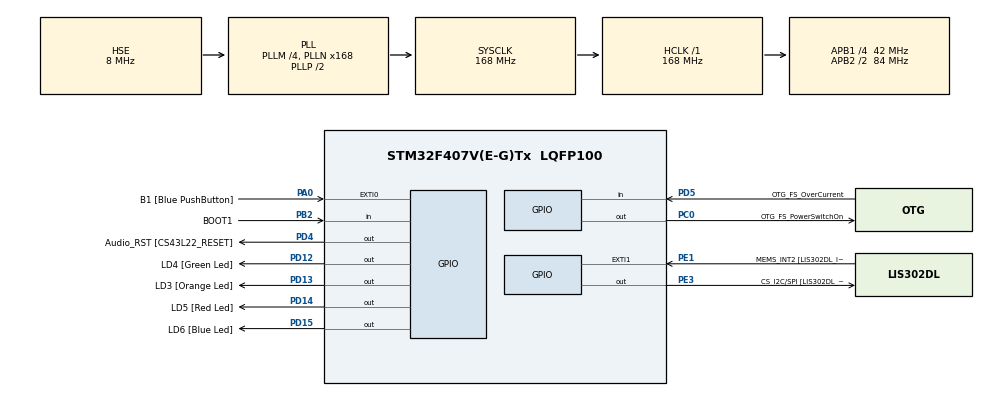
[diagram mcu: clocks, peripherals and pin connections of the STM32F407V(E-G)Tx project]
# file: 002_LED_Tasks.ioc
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Mcu.Family=STM32F4
Mcu.Name=STM32F407V(E-G)Tx
Mcu.Package=LQFP100
NVIC.PriorityGroup=NVIC_PRIORITYGROUP_4
PA0-WKUP.GPIO_Label=B1 [Blue PushButton]
PA0-WKUP.Signal=GPXTI0
PA10.GPIO_Label=OTG_FS_ID
PA10.GPIO_Mode=GPIO_MODE_AF_PP
PA10.GPIO_PuPd=GPIO_NOPULL
PA10.GPIO_Speed=GPIO_SPEED_FREQ_LOW
PA10.Signal=USB_OTG_FS_ID
PA11.GPIO_Label=OTG_FS_DM
PA11.GPIO_Mode=GPIO_MODE_AF_PP
PA11.GPIO_PuPd=GPIO_NOPULL
PA11.GPIO_Speed=GPIO_SPEED_FREQ_LOW
PA11.Signal=USB_OTG_FS_DM
PA12.GPIO_Label=OTG_FS_DP
PA12.GPIO_Mode=GPIO_MODE_AF_PP
PA12.GPIO_PuPd=GPIO_NOPULL
PA12.GPIO_Speed=GPIO_SPEED_FREQ_LOW
PA12.Signal=USB_OTG_FS_DP
PA13.GPIO_Label=SWDIO
PA13.Signal=SYS_JTMS-SWDIO
PA14.GPIO_Label=SWCLK
PA14.Signal=SYS_JTCK-SWCLK
PA4.GPIO_Label=I2S3_WS [CS43L22_LRCK]
PA4.GPIO_Mode=GPIO_MODE_AF_PP
PA4.GPIO_PuPd=GPIO_NOPULL
PA4.GPIO_Speed=GPIO_SPEED_FREQ_LOW
PA4.Signal=I2S3_WS
PA5.GPIO_Label=SPI1_SCK [LIS302DL_SCL/SPC]
PA5.GPIO_Mode=GPIO_MODE_AF_PP
PA5.GPIO_PuPd=GPIO_NOPULL
PA5.GPIO_Speed=GPIO_SPEED_FREQ_LOW
PA5.Signal=SPI1_SCK
PA6.GPIO_Label=SPI1_MISO [LIS302DL_SDO]
PA6.GPIO_Mode=GPIO_MODE_AF_PP
PA6.GPIO_PuPd=GPIO_NOPULL
PA6.GPIO_Speed=GPIO_SPEED_FREQ_LOW
PA6.Signal=SPI1_MISO
PA7.GPIO_Label=SPI1_MOSI [LIS302DL_SDA/SDI/SDO]
PA7.GPIO_Mode=GPIO_MODE_AF_PP
PA7.GPIO_PuPd=GPIO_NOPULL
PA7.GPIO_Speed=GPIO_SPEED_FREQ_LOW
PA7.Signal=SPI1_MOSI
PA9.GPIO_Label=VBUS_FS
PA9.GPIO_Mode=GPIO_MODE_INPUT
PA9.GPIO_PuPd=GPIO_NOPULL
PA9.Signal=USB_OTG_FS_VBUS
PB10.GPIO_Label=CLK_IN [MP45DT02_CLK]
PB10.GPIO_Mode=GPIO_MODE_AF_PP
PB10.GPIO_PuPd=GPIO_NOPULL
PB10.GPIO_Speed=GPIO_SPEED_FREQ_LOW
PB10.Signal=I2S2_CK
PB2.GPIO_Label=BOOT1
PB2.GPIO_Mode=GPIO_MODE_INPUT
PB2.GPIO_PuPd=GPIO_NOPULL
PB2.Signal=GPIO_Input
PB3.GPIO_Label=SWO
PB3.Signal=SYS_JTDO-SWO
PB6.GPIO_Label=Audio_SCL [CS43L22_SCL]
PB6.GPIO_Mode=GPIO_MODE_AF_OD
PB6.GPIO_PuPd=GPIO_NOPULL
PB6.GPIO_Speed=GPIO_SPEED_FREQ_LOW
PB6.Signal=I2C1_SCL
PB9.GPIO_Label=Audio_SDA [CS43L22_SDA]
PB9.GPIO_Mode=GPIO_MODE_AF_OD
PB9.GPIO_PuPd=GPIO_NOPULL
PB9.GPIO_Speed=GPIO_SPEED_FREQ_LOW
PB9.Signal=I2C1_SDA
PC0.GPIO_Label=OTG_FS_PowerSwitchOn
PC0.GPIO_PuPd=GPIO_NOPULL
PC0.GPIO_Speed=GPIO_SPEED_FREQ_LOW
PC0.PinState=GPIO_PIN_SET
PC0.Signal=GPIO_Output
PC10.GPIO_Label=I2S3_SCK [CS43L22_SCLK]
PC10.GPIO_Mode=GPIO_MODE_AF_PP
PC10.GPIO_PuPd=GPIO_NOPULL
PC10.GPIO_Speed=GPIO_SPEED_FREQ_LOW
PC10.Signal=I2S3_CK
PC12.GPIO_Label=I2S3_SD [CS43L22_SDIN]
PC12.GPIO_Mode=GPIO_MODE_AF_PP
PC12.GPIO_PuPd=GPIO_NOPULL
PC12.GPIO_Speed=GPIO_SPEED_FREQ_LOW
PC12.Signal=I2S3_SD
PC14-OSC32_IN.GPIO_Label=PC14-OSC32_IN
PC14-OSC32_IN.Signal=RCC_OSC32_IN
PC15-OSC32_OUT.GPIO_Label=PC15-OSC32_OUT
PC15-OSC32_OUT.Signal=RCC_OSC32_OUT
PC3.GPIO_Label=PDM_OUT [MP45DT02_DOUT]
PC3.GPIO_Mode=GPIO_MODE_AF_PP
PC3.GPIO_PuPd=GPIO_NOPULL
PC3.GPIO_Speed=GPIO_SPEED_FREQ_LOW
PC3.Signal=I2S2_SD
PC7.GPIO_Label=I2S3_MCK [CS43L22_MCLK]
PC7.GPIO_Mode=GPIO_MODE_AF_PP
PC7.GPIO_PuPd=GPIO_NOPULL
PC7.GPIO_Speed=GPIO_SPEED_FREQ_LOW
PC7.Signal=I2S3_MCK
PD12.GPIO_Label=LD4 [Green Led]
PD12.GPIO_PuPd=GPIO_NOPULL
PD12.GPIO_Speed=GPIO_SPEED_FREQ_LOW
PD12.Signal=GPIO_Output
PD13.GPIO_Label=LD3 [Orange Led]
PD13.GPIO_PuPd=GPIO_NOPULL
PD13.GPIO_Speed=GPIO_SPEED_FREQ_LOW
PD13.Signal=GPIO_Output
PD14.GPIO_Label=LD5 [Red Led]
PD14.GPIO_PuPd=GPIO_NOPULL
PD14.GPIO_Speed=GPIO_SPEED_FREQ_LOW
PD14.Signal=GPIO_Output
PD15.GPIO_Label=LD6 [Blue Led]
PD15.GPIO_PuPd=GPIO_NOPULL
PD15.GPIO_Speed=GPIO_SPEED_FREQ_LOW
PD15.Signal=GPIO_Output
PD4.GPIO_Label=Audio_RST [CS43L22_RESET]
PD4.GPIO_PuPd=GPIO_NOPULL
PD4.GPIO_Speed=GPIO_SPEED_FREQ_LOW
PD4.Signal=GPIO_Output
PD5.GPIO_Label=OTG_FS_OverCurrent
PD5.GPIO_Mode=GPIO_MODE_INPUT
PD5.GPIO_PuPd=GPIO_NOPULL
PD5.Signal=GPIO_Input
PE1.GPIO_Label=MEMS_INT2 [LIS302DL_INT2]
PE1.GPIO_ModeDefaultEXTI=GPIO_MODE_EVT_RISING
PE1.GPIO_PuPd=GPIO_NOPULL
PE1.Signal=GPXTI1
PE3.GPIO_Label=CS_I2C/SPI [LIS302DL_CS_I2C/SPI]
PE3.GPIO_PuPd=GPIO_NOPULL
PE3.GPIO_Speed=GPIO_SPEED_FREQ_LOW
PE3.Signal=GPIO_Output
PH0-OSC_IN.GPIO_Label=PH0-OSC_IN
PH0-OSC_IN.Mode=HSE-External-Oscillator
PH0-OSC_IN.Signal=RCC_OSC_IN
PH1-OSC_OUT.GPIO_Label=PH1-OSC_OUT
PH1-OSC_OUT.Mode=HSE-External-Oscillator
PH1-OSC_OUT.Signal=RCC_OSC_OUT
ProjectManager.HeapSize=0x200
ProjectManager.StackSize=0x400
ProjectManager.TargetToolchain=CMake
RCC.48MHZClocksFreq_Value=48000000
RCC.AHBFreq_Value=168000000
RCC.APB1CLKDivider=RCC_HCLK_DIV4
RCC.APB1Freq_Value=42000000
RCC.APB1TimFreq_Value=84000000
RCC.APB2CLKDivider=RCC_HCLK_DIV2
RCC.APB2Freq_Value=84000000
RCC.APB2TimFreq_Value=168000000
RCC.CortexFreq_Value=168000000
RCC.HCLKFreq_Value=168000000
RCC.HSE_VALUE=8000000
RCC.HSI_VALUE=16000000
RCC.LSE_VALUE=32768
RCC.PLLM=4
RCC.PLLN=168
RCC.PLLQ=7
RCC.PLLSourceVirtual=RCC_PLLSOURCE_HSE
RCC.SYSCLKFreq_VALUE=168000000
RCC.SYSCLKSource=RCC_SYSCLKSOURCE_PLLCLK
RCC.VCOOutputFreq_Value=336000000
board=STM32F407G-DISC1

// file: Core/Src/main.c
/* USER CODE BEGIN Header */
/**
  ******************************************************************************
  * @file           : main.c
  * @brief          : Main program body
  ******************************************************************************
  * @attention
  *
  * Copyright (c) 2026 STMicroelectronics.
  * All rights reserved.
  *
  * This software is licensed under terms that can be found in the LICENSE file
  * in the root directory of this software component.
  * If no LICENSE file comes with this software, it is provided AS-IS.
  *
  ******************************************************************************
  */
/* USER CODE END Header */
#include "main.h"

/* USER CODE BEGIN Includes */
#include "FreeRTOS.h"
#include "task.h"
/* USER CODE END Includes */

void SystemClock_Config(void);
static void MX_GPIO_Init(void);
/* USER CODE BEGIN PFP */
static void led_green_handler(void* params);
static void led_orange_handler(void* params);
static void led_red_handler(void* params);
extern void SEGGER_UART_init(U32 baud_rate);
/* USER CODE END PFP */

int main(void)
{

  /* USER CODE BEGIN 1 */
  TaskHandle_t task1_handle = NULL;
  TaskHandle_t task2_handle = NULL;
  TaskHandle_t task3_handle = NULL;
  BaseType_t status = pdFALSE;
  /* USER CODE END 1 */

  /* MCU Configuration--------------------------------------------------------*/

  /* Reset of all peripherals, Initializes the Flash interface and the Systick. */
  HAL_Init();

  /* Configure the system clock */
  SystemClock_Config();

  /* Initialize all configured peripherals */
  MX_GPIO_Init();
  /* USER CODE BEGIN 2 */
  SEGGER_UART_init(250000);
  DWT->CTRL |= ( 1 << 0);
  SEGGER_SYSVIEW_Conf();

  status = xTaskCreate(led_green_handler, "LED_green_task", 200, NULL, 2, &task1_handle);
  configASSERT(status == pdPASS);

  status = xTaskCreate(led_orange_handler, "LED_orange_task", 200, NULL, 2, &task2_handle);
  configASSERT(status == pdPASS);

  status = xTaskCreate(led_red_handler, "LED_red_task", 200, NULL, 2, &task3_handle);
  configASSERT(status == pdPASS);

  vTaskStartScheduler();
  /* USER CODE END 2 */

  /* Infinite loop */
  while (1)
  {

  }
}

void SystemClock_Config(void)
{
  RCC_OscInitTypeDef RCC_OscInitStruct = {0};
  RCC_ClkInitTypeDef RCC_ClkInitStruct = {0};

  /** Configure the main internal regulator output voltage
  */
  __HAL_RCC_PWR_CLK_ENABLE();
  __HAL_PWR_VOLTAGESCALING_CONFIG(PWR_REGULATOR_VOLTAGE_SCALE1);

  /** Initializes the RCC Oscillators according to the specified parameters
  * in the RCC_OscInitTypeDef structure.
  */
  RCC_OscInitStruct.OscillatorType = RCC_OSCILLATORTYPE_HSE;
  RCC_OscInitStruct.HSEState = RCC_HSE_ON;
  RCC_OscInitStruct.PLL.PLLState = RCC_PLL_ON;
  RCC_OscInitStruct.PLL.PLLSource = RCC_PLLSOURCE_HSE;
  RCC_OscInitStruct.PLL.PLLM = 4;
  RCC_OscInitStruct.PLL.PLLN = 168;
  RCC_OscInitStruct.PLL.PLLP = RCC_PLLP_DIV2;
  RCC_OscInitStruct.PLL.PLLQ = 7;
  if (HAL_RCC_OscConfig(&RCC_OscInitStruct) != HAL_OK)
  {
    Error_Handler();
  }

  /** Initializes the CPU, AHB and APB buses clocks
  */
  RCC_ClkInitStruct.ClockType = RCC_CLOCKTYPE_HCLK|RCC_CLOCKTYPE_SYSCLK
                              |RCC_CLOCKTYPE_PCLK1|RCC_CLOCKTYPE_PCLK2;
  RCC_ClkInitStruct.SYSCLKSource = RCC_SYSCLKSOURCE_PLLCLK;
  RCC_ClkInitStruct.AHBCLKDivider = RCC_SYSCLK_DIV1;
  RCC_ClkInitStruct.APB1CLKDivider = RCC_HCLK_DIV4;
  RCC_ClkInitStruct.APB2CLKDivider = RCC_HCLK_DIV2;

  if (HAL_RCC_ClockConfig(&RCC_ClkInitStruct, FLASH_LATENCY_5) != HAL_OK)
  {
    Error_Handler();
  }
}

static void MX_GPIO_Init(void)
{
  GPIO_InitTypeDef GPIO_InitStruct = {0};

  /* GPIO Ports Clock Enable */
  __HAL_RCC_GPIOE_CLK_ENABLE();
  __HAL_RCC_GPIOC_CLK_ENABLE();
  __HAL_RCC_GPIOH_CLK_ENABLE();
  __HAL_RCC_GPIOA_CLK_ENABLE();
  __HAL_RCC_GPIOB_CLK_ENABLE();
  __HAL_RCC_GPIOD_CLK_ENABLE();

  /*Configure GPIO pin Output Level */
  HAL_GPIO_WritePin(CS_I2C_SPI_GPIO_Port, CS_I2C_SPI_Pin, GPIO_PIN_RESET);

  /*Configure GPIO pin Output Level */
  HAL_GPIO_WritePin(OTG_FS_PowerSwitchOn_GPIO_Port, OTG_FS_PowerSwitchOn_Pin, GPIO_PIN_SET);

  /*Configure GPIO pin Output Level */
  HAL_GPIO_WritePin(GPIOD, LD4_Pin|LD3_Pin|LD5_Pin|LD6_Pin
                          |Audio_RST_Pin, GPIO_PIN_RESET);

  /*Configure GPIO pin : CS_I2C_SPI_Pin */
  GPIO_InitStruct.Pin = CS_I2C_SPI_Pin;
  GPIO_InitStruct.Mode = GPIO_MODE_OUTPUT_PP;
  GPIO_InitStruct.Pull = GPIO_NOPULL;
  GPIO_InitStruct.Speed = GPIO_SPEED_FREQ_LOW;
  HAL_GPIO_Init(CS_I2C_SPI_GPIO_Port, &GPIO_InitStruct);

  /*Configure GPIO pin : OTG_FS_PowerSwitchOn_Pin */
  GPIO_InitStruct.Pin = OTG_FS_PowerSwitchOn_Pin;
  GPIO_InitStruct.Mode = GPIO_MODE_OUTPUT_PP;
  GPIO_InitStruct.Pull = GPIO_NOPULL;
  GPIO_InitStruct.Speed = GPIO_SPEED_FREQ_LOW;
  HAL_GPIO_Init(OTG_FS_PowerSwitchOn_GPIO_Port, &GPIO_InitStruct);

  /*Configure GPIO pin : PDM_OUT_Pin */
  GPIO_InitStruct.Pin = PDM_OUT_Pin;
  GPIO_InitStruct.Mode = GPIO_MODE_AF_PP;
  GPIO_InitStruct.Pull = GPIO_NOPULL;
  GPIO_InitStruct.Speed = GPIO_SPEED_FREQ_LOW;
  GPIO_InitStruct.Alternate = GPIO_AF5_SPI2;
  HAL_GPIO_Init(PDM_OUT_GPIO_Port, &GPIO_InitStruct);

  /*Configure GPIO pin : B1_Pin */
  GPIO_InitStruct.Pin = B1_Pin;
  GPIO_InitStruct.Mode = GPIO_MODE_IT_RISING;
  GPIO_InitStruct.Pull = GPIO_NOPULL;
  HAL_GPIO_Init(B1_GPIO_Port, &GPIO_InitStruct);

  /*Configure GPIO pin : I2S3_WS_Pin */
  GPIO_InitStruct.Pin = I2S3_WS_Pin;
  GPIO_InitStruct.Mode = GPIO_MODE_AF_PP;
  GPIO_InitStruct.Pull = GPIO_NOPULL;
  GPIO_InitStruct.Speed = GPIO_SPEED_FREQ_LOW;
  GPIO_InitStruct.Alternate = GPIO_AF6_SPI3;
  HAL_GPIO_Init(I2S3_WS_GPIO_Port, &GPIO_InitStruct);

  /*Configure GPIO pins : SPI1_SCK_Pin SPI1_MISO_Pin SPI1_MOSI_Pin */
  GPIO_InitStruct.Pin = SPI1_SCK_Pin|SPI1_MISO_Pin|SPI1_MOSI_Pin;
  GPIO_InitStruct.Mode = GPIO_MODE_AF_PP;
  GPIO_InitStruct.Pull = GPIO_NOPULL;
  GPIO_InitStruct.Speed = GPIO_SPEED_FREQ_LOW;
  GPIO_InitStruct.Alternate = GPIO_AF5_SPI1;
  HAL_GPIO_Init(GPIOA, &GPIO_InitStruct);

  /*Configure GPIO pin : BOOT1_Pin */
  GPIO_InitStruct.Pin = BOOT1_Pin;
  GPIO_InitStruct.Mode = GPIO_MODE_INPUT;
  GPIO_InitStruct.Pull = GPIO_NOPULL;
  HAL_GPIO_Init(BOOT1_GPIO_Port, &GPIO_InitStruct);

  /*Configure GPIO pin : CLK_IN_Pin */
  GPIO_InitStruct.Pin = CLK_IN_Pin;
  GPIO_InitStruct.Mode = GPIO_MODE_AF_PP;
  GPIO_InitStruct.Pull = GPIO_NOPULL;
  GPIO_InitStruct.Speed = GPIO_SPEED_FREQ_LOW;
  GPIO_InitStruct.Alternate = GPIO_AF5_SPI2;
  HAL_GPIO_Init(CLK_IN_GPIO_Port, &GPIO_InitStruct);

  /*Configure GPIO pins : LD4_Pin LD3_Pin LD5_Pin LD6_Pin
                           Audio_RST_Pin */
  GPIO_InitStruct.Pin = LD4_Pin|LD3_Pin|LD5_Pin|LD6_Pin
                          |Audio_RST_Pin;
  GPIO_InitStruct.Mode = GPIO_MODE_OUTPUT_PP;
  GPIO_InitStruct.Pull = GPIO_NOPULL;
  GPIO_InitStruct.Speed = GPIO_SPEED_FREQ_LOW;
  HAL_GPIO_Init(GPIOD, &GPIO_InitStruct);

  /*Configure GPIO pins : I2S3_MCK_Pin I2S3_SCK_Pin I2S3_SD_Pin */
  GPIO_InitStruct.Pin = I2S3_MCK_Pin|I2S3_SCK_Pin|I2S3_SD_Pin;
  GPIO_InitStruct.Mode = GPIO_MODE_AF_PP;
  GPIO_InitStruct.Pull = GPIO_NOPULL;
  GPIO_InitStruct.Speed = GPIO_SPEED_FREQ_LOW;
  GPIO_InitStruct.Alternate = GPIO_AF6_SPI3;
  HAL_GPIO_Init(GPIOC, &GPIO_InitStruct);

  /*Configure GPIO pin : VBUS_FS_Pin */
  GPIO_InitStruct.Pin = VBUS_FS_Pin;
  GPIO_InitStruct.Mode = GPIO_MODE_INPUT;
  GPIO_InitStruct.Pull = GPIO_NOPULL;
  HAL_GPIO_Init(VBUS_FS_GPIO_Port, &GPIO_InitStruct);

  /*Configure GPIO pins : OTG_FS_ID_Pin OTG_FS_DM_Pin OTG_FS_DP_Pin */
  GPIO_InitStruct.Pin = OTG_FS_ID_Pin|OTG_FS_DM_Pin|OTG_FS_DP_Pin;
  GPIO_InitStruct.Mode = GPIO_MODE_AF_PP;
  GPIO_InitStruct.Pull = GPIO_NOPULL;
  GPIO_InitStruct.Speed = GPIO_SPEED_FREQ_LOW;
  GPIO_InitStruct.Alternate = GPIO_AF10_OTG_FS;
  HAL_GPIO_Init(GPIOA, &GPIO_InitStruct);

  /*Configure GPIO pin : OTG_FS_OverCurrent_Pin */
  GPIO_InitStruct.Pin = OTG_FS_OverCurrent_Pin;
  GPIO_InitStruct.Mode = GPIO_MODE_INPUT;
  GPIO_InitStruct.Pull = GPIO_NOPULL;
  HAL_GPIO_Init(OTG_FS_OverCurrent_GPIO_Port, &GPIO_InitStruct);

  /*Configure GPIO pins : Audio_SCL_Pin Audio_SDA_Pin */
  GPIO_InitStruct.Pin = Audio_SCL_Pin|Audio_SDA_Pin;
  GPIO_InitStruct.Mode = GPIO_MODE_AF_OD;
  GPIO_InitStruct.Pull = GPIO_NOPULL;
  GPIO_InitStruct.Speed = GPIO_SPEED_FREQ_LOW;
  GPIO_InitStruct.Alternate = GPIO_AF4_I2C1;
  HAL_GPIO_Init(GPIOB, &GPIO_InitStruct);

  /*Configure GPIO pin : MEMS_INT2_Pin */
  GPIO_InitStruct.Pin = MEMS_INT2_Pin;
  GPIO_InitStruct.Mode = GPIO_MODE_EVT_RISING;
  GPIO_InitStruct.Pull = GPIO_NOPULL;
  HAL_GPIO_Init(MEMS_INT2_GPIO_Port, &GPIO_InitStruct);

}

/* USER CODE BEGIN 4 */
static void led_green_handler(void* params)
{
  TickType_t xLastWakeTime = xTaskGetTickCount();
  const TickType_t xFrequency = 1000 / portTICK_PERIOD_MS;

  while (1)
  {
    SEGGER_SYSVIEW_PrintfTarget("Toggle GREEN pin");
    HAL_GPIO_TogglePin(GPIOD, LED_GREEN_PIN);
    vTaskDelayUntil(&xLastWakeTime, xFrequency);
  }
}

static void led_orange_handler(void* params)
{
  TickType_t xLastWakeTime = xTaskGetTickCount();
  const TickType_t xFrequency = 800 / portTICK_PERIOD_MS;

  while (1)
  {
    SEGGER_SYSVIEW_PrintfTarget("Toggle ORANGE pin");
    HAL_GPIO_TogglePin(GPIOD, LED_ORANGE_PIN);
    vTaskDelayUntil(&xLastWakeTime, xFrequency);
  }
}

static void led_red_handler(void* params)
{
  TickType_t xLastWakeTime = xTaskGetTickCount();
  const TickType_t xFrequency = 400 / portTICK_PERIOD_MS;

  while (1)
  {
    SEGGER_SYSVIEW_PrintfTarget("Toggle RED pin");
    HAL_GPIO_TogglePin(GPIOD, LED_RED_PIN);
    vTaskDelayUntil(&xLastWakeTime, xFrequency);
  }
}

void vApplicationIdleHook(void)
{
  HAL_PWR_EnterSLEEPMode(PWR_MAINREGULATOR_ON, PWR_SLEEPENTRY_WFI);
}
/* USER CODE END 4 */

void Error_Handler(void)
{
  __disable_irq();
  while (1)
  {
  }
}
